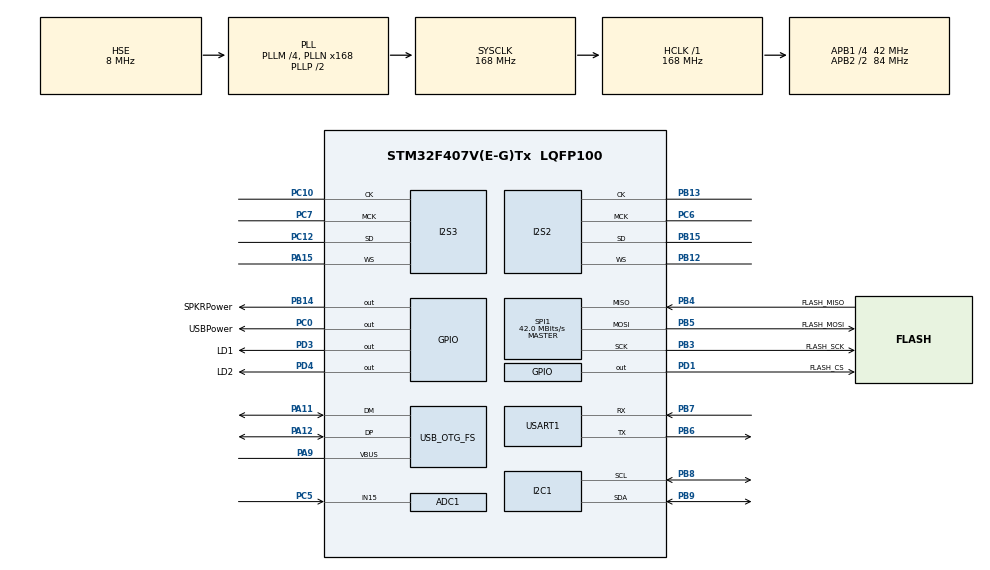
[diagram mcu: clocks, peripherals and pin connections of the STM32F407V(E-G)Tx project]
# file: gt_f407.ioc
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ADC1.Channel-1\#ChannelRegularConversion=ADC_CHANNEL_15
ADC1.ClockPrescaler=ADC_CLOCK_SYNC_PCLK_DIV8
ADC1.ContinuousConvMode=DISABLE
ADC1.DMAContinuousRequests=DISABLE
ADC1.NbrOfConversion=1
ADC1.NbrOfConversionFlag=1
ADC1.Rank-1\#ChannelRegularConversion=1
ADC1.SamplingTime-1\#ChannelRegularConversion=ADC_SAMPLETIME_480CYCLES
ADC1.ScanConvMode=ENABLE
ADC1.master=1
Dma.Request0=USART1_RX
Dma.Request1=SPI3_TX
Dma.Request2=SPI2_RX
Dma.SPI2_RX.2.Direction=DMA_PERIPH_TO_MEMORY
Dma.SPI2_RX.2.FIFOMode=DMA_FIFOMODE_ENABLE
Dma.SPI2_RX.2.FIFOThreshold=DMA_FIFO_THRESHOLD_1QUARTERFULL
Dma.SPI2_RX.2.Instance=DMA1_Stream3
Dma.SPI2_RX.2.MemBurst=DMA_MBURST_SINGLE
Dma.SPI2_RX.2.MemDataAlignment=DMA_MDATAALIGN_HALFWORD
Dma.SPI2_RX.2.MemInc=DMA_MINC_ENABLE
Dma.SPI2_RX.2.Mode=DMA_CIRCULAR
Dma.SPI2_RX.2.PeriphBurst=DMA_PBURST_SINGLE
Dma.SPI2_RX.2.PeriphDataAlignment=DMA_PDATAALIGN_HALFWORD
Dma.SPI2_RX.2.PeriphInc=DMA_PINC_DISABLE
Dma.SPI2_RX.2.Priority=DMA_PRIORITY_LOW
Dma.SPI3_TX.1.Direction=DMA_MEMORY_TO_PERIPH
Dma.SPI3_TX.1.FIFOMode=DMA_FIFOMODE_DISABLE
Dma.SPI3_TX.1.Instance=DMA1_Stream5
Dma.SPI3_TX.1.MemDataAlignment=DMA_MDATAALIGN_HALFWORD
Dma.SPI3_TX.1.MemInc=DMA_MINC_ENABLE
Dma.SPI3_TX.1.Mode=DMA_CIRCULAR
Dma.SPI3_TX.1.PeriphDataAlignment=DMA_PDATAALIGN_HALFWORD
Dma.SPI3_TX.1.PeriphInc=DMA_PINC_DISABLE
Dma.SPI3_TX.1.Priority=DMA_PRIORITY_LOW
Dma.USART1_RX.0.Direction=DMA_PERIPH_TO_MEMORY
Dma.USART1_RX.0.FIFOMode=DMA_FIFOMODE_DISABLE
Dma.USART1_RX.0.Instance=DMA2_Stream2
Dma.USART1_RX.0.MemDataAlignment=DMA_MDATAALIGN_BYTE
Dma.USART1_RX.0.MemInc=DMA_MINC_ENABLE
Dma.USART1_RX.0.Mode=DMA_CIRCULAR
Dma.USART1_RX.0.PeriphDataAlignment=DMA_PDATAALIGN_BYTE
Dma.USART1_RX.0.PeriphInc=DMA_PINC_DISABLE
Dma.USART1_RX.0.Priority=DMA_PRIORITY_LOW
FATFS._USE_LFN=1
I2S2.AudioFreq=I2S_AUDIOFREQ_48K
I2S2.DataFormat=I2S_DATAFORMAT_24B
I2S2.ErrorAudioFreq=-0.31 %
I2S2.FullDuplexMode=I2S_FULLDUPLEXMODE_DISABLE
I2S2.Instance=SPI$Index
I2S2.Mode=I2S_MODE_MASTER_RX
I2S2.RealAudioFreq=47.851 KHz
I2S2.VirtualMode=I2S_MODE_MASTER
I2S3.AudioFreq=I2S_AUDIOFREQ_48K
I2S3.ErrorAudioFreq=-0.31 %
I2S3.FullDuplexMode=I2S_FULLDUPLEXMODE_DISABLE
I2S3.Instance=SPI$Index
I2S3.RealAudioFreq=47.851 KHz
I2S3.Standard=I2S_STANDARD_PHILIPS
I2S3.VirtualMode=I2S_MODE_MASTER
Mcu.Family=STM32F4
Mcu.Name=STM32F407V(E-G)Tx
Mcu.Package=LQFP100
NVIC.DMA1_Stream3_IRQn=true\:2\:0\:true\:false\:true\:false\:true\:true
NVIC.DMA1_Stream5_IRQn=true\:2\:0\:true\:false\:true\:false\:true\:true
NVIC.DMA2_Stream2_IRQn=true\:2\:0\:true\:false\:true\:false\:true\:true
NVIC.OTG_FS_IRQn=true\:0\:0\:false\:false\:true\:false\:true\:true
NVIC.PriorityGroup=NVIC_PRIORITYGROUP_4
NVIC.TIM2_IRQn=true\:0\:0\:false\:false\:true\:true\:true\:true
PA11.Mode=Host_Only
PA11.Signal=USB_OTG_FS_DM
PA12.Mode=Host_Only
PA12.Signal=USB_OTG_FS_DP
PA13.Mode=Serial_Wire
PA13.Signal=SYS_JTMS-SWDIO
PA14.Mode=Serial_Wire
PA14.Signal=SYS_JTCK-SWCLK
PA15.Mode=Half_Duplex_Master
PA15.Signal=I2S3_WS
PA9.Mode=Activate_VBUS
PA9.Signal=USB_OTG_FS_VBUS
PB12.Mode=Half_Duplex_Master
PB12.Signal=I2S2_WS
PB13.Mode=Half_Duplex_Master
PB13.Signal=I2S2_CK
PB14.GPIO_Label=SPKRPower
PB14.Signal=GPIO_Output
PB15.Mode=Half_Duplex_Master
PB15.Signal=I2S2_SD
PB3.GPIO_Label=FLASH_SCK
PB3.Mode=Full_Duplex_Master
PB3.Signal=SPI1_SCK
PB4.GPIO_Label=FLASH_MISO
PB4.Mode=Full_Duplex_Master
PB4.Signal=SPI1_MISO
PB5.GPIO_Label=FLASH_MOSI
PB5.Mode=Full_Duplex_Master
PB5.Signal=SPI1_MOSI
PB6.Mode=Asynchronous
PB6.Signal=USART1_TX
PB7.Mode=Asynchronous
PB7.Signal=USART1_RX
PB8.Mode=I2C
PB8.Signal=I2C1_SCL
PB9.Mode=I2C
PB9.Signal=I2C1_SDA
PC0.GPIO_Label=USBPower
PC0.Signal=GPIO_Output
PC10.Mode=Half_Duplex_Master
PC10.Signal=I2S3_CK
PC12.Mode=Half_Duplex_Master
PC12.Signal=I2S3_SD
PC5.Signal=ADCx_IN15
PC6.Mode=Master_Clock_Activated
PC6.Signal=I2S2_MCK
PC7.Mode=Master_Clock_Activated
PC7.Signal=I2S3_MCK
PD1.GPIO_Label=FLASH_CS
PD1.Signal=GPIO_Output
PD3.GPIO_Label=LD1
PD3.Signal=GPIO_Output
PD4.GPIO_Label=LD2
PD4.Signal=GPIO_Output
PH0-OSC_IN.Mode=HSE-External-Oscillator
PH0-OSC_IN.Signal=RCC_OSC_IN
PH1-OSC_OUT.Mode=HSE-External-Oscillator
PH1-OSC_OUT.Signal=RCC_OSC_OUT
ProjectManager.HeapSize=0x200
ProjectManager.StackSize=0x400
ProjectManager.TargetToolchain=STM32CubeIDE
RCC.48MHZClocksFreq_Value=48000000
RCC.AHBFreq_Value=168000000
RCC.APB1CLKDivider=RCC_HCLK_DIV4
RCC.APB1Freq_Value=42000000
RCC.APB1TimFreq_Value=84000000
RCC.APB2CLKDivider=RCC_HCLK_DIV2
RCC.APB2Freq_Value=84000000
RCC.APB2TimFreq_Value=168000000
RCC.CortexFreq_Value=168000000
RCC.HCLKFreq_Value=168000000
RCC.HSE_VALUE=8000000
RCC.HSI_VALUE=16000000
RCC.LSE_VALUE=32768
RCC.PLLI2SN=196
RCC.PLLI2SR=4
RCC.PLLM=4
RCC.PLLN=168
RCC.PLLQ=7
RCC.SYSCLKFreq_VALUE=168000000
RCC.SYSCLKSource=RCC_SYSCLKSOURCE_PLLCLK
RCC.VCOOutputFreq_Value=336000000
SH.ADCx_IN15.0=ADC1_IN15,IN15
SPI1.CalculateBaudRate=42.0 MBits/s
SPI1.Direction=SPI_DIRECTION_2LINES
SPI1.Mode=SPI_MODE_MASTER
SPI1.VirtualType=VM_MASTER
TIM2.Period=100000
TIM2.Prescaler=168-1
TIM6.Period=65536-1
TIM6.Prescaler=168-1
TIM7.Prescaler=168-1
USART1.Parity=PARITY_NONE
USART1.VirtualMode=VM_ASYNC
USART1.WordLength=WORDLENGTH_8B
USB_HOST.BSP.number=1
USB_HOST.USBH_HandleTypeDef-MSC_FS=hUsbHostFS
USB_HOST.VirtualModeFS=Msc
USB_HOST0.BSP.STBoard=false
USB_HOST0.BSP.api=Unknown
USB_HOST0.BSP.instance=PC0
USB_HOST0.BSP.ip=GPIO
USB_HOST0.BSP.mode=Output
USB_HOST0.BSP.name=Drive_VBUS_FS
USB_HOST0.BSP.solution=PC0
USB_OTG_FS.VirtualMode=Host_Only
USB_OTG_FS.phy_itface=HCD_PHY_EMBEDDED
VP_FATFS_VS_USB.Mode=USB
VP_TIM2_VS_ClockSourceINT.Mode=Internal
VP_TIM6_VS_ClockSourceINT.Mode=Enable_Timer
VP_TIM7_VS_ClockSourceINT.Mode=Enable_Timer
VP_USB_HOST_VS_USB_HOST_MSC_FS.Mode=MSC_FS
board=custom

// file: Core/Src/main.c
/* USER CODE BEGIN Header */
/**
 ******************************************************************************
 * @file           : main.c
 * @brief          : Main program body
 ******************************************************************************
 * @attention
 *
 * Copyright (c) 2022 STMicroelectronics.
 * All rights reserved.
 *
 * This software is licensed under terms that can be found in the LICENSE file
 * in the root directory of this software component.
 * If no LICENSE file comes with this software, it is provided AS-IS.
 *
 ******************************************************************************
 */
/* USER CODE END Header */
#include "main.h"
#include "fatfs.h"
#include "usb_host.h"

/* USER CODE BEGIN Includes */
#include "commander.h"
#include "AUDIO.h"
#include "pedalboard.h"
#include "lines.h"
#include "drummachine.h"
#include "menu.h"
#include "w25qxx.h"

//tutorial for CMSIS DSP
//https://stm32f4-discovery.net/2014/10/stm32f4-fft-example/
//https://community.st.com/s/article/configuring-dsp-libraries-on-stm32cubeide

/* USER CODE END Includes */

ADC_HandleTypeDef hadc1;

I2C_HandleTypeDef hi2c1;

I2S_HandleTypeDef hi2s2;
I2S_HandleTypeDef hi2s3;
DMA_HandleTypeDef hdma_spi2_rx;
DMA_HandleTypeDef hdma_spi3_tx;

SPI_HandleTypeDef hspi1;

TIM_HandleTypeDef htim2;
TIM_HandleTypeDef htim6;
TIM_HandleTypeDef htim7;

UART_HandleTypeDef huart1;
DMA_HandleTypeDef hdma_usart1_rx;

/* USER CODE BEGIN PV */

// VOLUME KNOV
volatile float volume_knob;
volatile float knob_rot;

// TIMER MICROSECOND COUNTER
uint16_t timer_start;
uint16_t timer_stop;
uint16_t timer_elapsed;

// FLASH
#define SAVE_SLOTS 4

// COMMANDER
Commander_HandleTypeDef hcommander;

// LINES
lines_conf_t lines;
// PEDALBOARD
Pedalboard_Handler hpedalboard;
// DRUM MACHINE
drum_conf_t drummachine;

#define SAMPLES_QUANTITY 128 // two halves combined
#define HALF_QUANTITY 64 // which 32 are left and 32 are right

// PLOT
volatile uint8_t plot_xscale = 1;
volatile uint8_t plot_yscale = 1;
volatile uint16_t signal_index = 0;
volatile uint32_t signal_samples = 0;
int8_t signal_in[SIGNAL_SIZE];
int8_t signal_out[SIGNAL_SIZE];

// SPECTRUM
#define FFT_SAMPLES_COUNT 4096
#define FFT_SIZE (FFT_SAMPLES_COUNT / 2)
volatile uint32_t spectrum_index = FFT_SAMPLES_COUNT;
static float32_t spectrum_output[FFT_SIZE];
static float32_t spectrum_input[FFT_SAMPLES_COUNT];
uint32_t spectrum_reduced[PAYLOAD_BYTESIZE];
float32_t frequency;
arm_cfft_radix4_instance_f32 S;

// DAC
//extern AUDIO_DrvTypeDef cs43l22_drv;
int16_t DAC_BUFF[SAMPLES_QUANTITY + SAMPLES_QUANTITY];
// second SAMPLES_QUANTITY is just padding because DMA stuff

// INTERMEDIATE
uint16_t inter_dac_index = 0;
int16_t INTER_DAC_BUFF[HALF_QUANTITY];
// 0: 1st right
// 1: 1st left
// 2: 2nd right
// 3: 2nd left

// ADC EVG
union _ADC_BUFF {
	int8_t _ADC8[16];
	uint8_t ADC8[16];
	uint16_t ADC16[8];
	int32_t ADC32[4];
} ADC_BUFF;
int32_t BUFF_CONV[4];

// USB
extern ApplicationTypeDef Appli_state;
//File IO Variables
FIL myFile;
FRESULT res;
uint32_t byteswritten, bytesread;
char rwtext[100];
uint8_t usb_mounted;
uint8_t usb_ready;
FATFS myUsbFatFS;

// TEST PER AUDIO STREAM
uint8_t dummy_1[4096];
uint8_t dummy_2[4096];
uint32_t start, stop, elapsed;

/* USER CODE END PV */

void SystemClock_Config(void);
void PeriphCommonClock_Config(void);
static void MX_GPIO_Init(void);
static void MX_DMA_Init(void);
static void MX_USART1_UART_Init(void);
static void MX_I2S3_Init(void);
static void MX_I2C1_Init(void);
static void MX_I2S2_Init(void);
static void MX_TIM6_Init(void);
static void MX_SPI1_Init(void);
static void MX_ADC1_Init(void);
static void MX_TIM2_Init(void);
static void MX_TIM7_Init(void);
void MX_USB_HOST_Process(void);

/* USER CODE BEGIN 0 */

uint8_t copy_usb_to_flash3(void)
{
	//Open file for Reading
	if(f_open(&myFile, "SAMPLES.BIN", FA_READ) != FR_OK)
	{
		return 0; //error
	}
	else
	{
		//Read text from files until NULL
		for(uint8_t i=0; i<100; i++)
		{
			res = f_read(&myFile, (uint8_t*)&rwtext[i], 1, &bytesread);
			if(rwtext[i] == 0x00)
			{
				bytesread = i;
				break;
			}
		}
		//Reading error handling
		if(bytesread==0) return 0;
	}

	//Close file
	f_close(&myFile);
	return 1; //success
}

void HAL_TIM_PeriodElapsedCallback(TIM_HandleTypeDef *htim)
{
	if (htim == &htim2) {

		static uint32_t samples[5];

		for (uint8_t i = 0; i < 5; i++) {
			HAL_ADC_Start(&hadc1);
			if (HAL_ADC_PollForConversion(&hadc1, 10) == HAL_OK) {
				samples[i] = HAL_ADC_GetValue(&hadc1);
			}
			HAL_ADC_Stop(&hadc1);
		}

		for (uint8_t i = 1; i < 5; i++) {
			uint8_t j = i;
			while (j > 0 && samples[j-1] > samples[j]) {
				uint32_t support = samples[j];
				samples[j] = samples[j-1];
				samples[j-1] = support;
				j -= 1;
			}
		}

		volume_knob = (float)samples[2];

		//float x = - (volume_knob - 4095.3F) / 66.3F;
		knob_rot = log10f(- (volume_knob - 4095.3F) / 66.3F);

		// -135 -> 4095 = B + A 10^(-135)
		// 0    -> 4029 = B + A 10^(0)
		// +135 -> 2979 = B + A 10^(+135)

	}
}

void HAL_UART_RxHalfCpltCallback(UART_HandleTypeDef *huart)
{
	UNUSED(huart);
	memcpy(&(hcommander.in_command), hcommander.uart_rx_buffer, COMMAND_BYTESIZE);
	hcommander.command_to_process = 1;
}

void HAL_UART_RxCpltCallback(UART_HandleTypeDef *huart)
{
	UNUSED(huart);
	memcpy(&(hcommander.in_command), hcommander.uart_rx_buffer + COMMAND_BYTESIZE, COMMAND_BYTESIZE);
	hcommander.command_to_process = 1;
}

void flash_save(uint32_t slot_index, Pedalboard_Handler *hpb) {
	// one sector per save
	if (slot_index < SAVE_SLOTS) {
		W25qxx_WriteSector((uint8_t *)hpb, slot_index, 0, PEDALBOARD_HANDLER_SIZE);
	}
}

uint8_t flash_isempty(uint32_t slot_index) {
	if (slot_index < SAVE_SLOTS) {
		return W25qxx_IsEmptySector(slot_index, 0, PEDALBOARD_HANDLER_SIZE);
	}
	return 0;
}

void flash_load(uint32_t slot_index, Pedalboard_Handler *hpb) {
	// one sector per save
	if (slot_index < SAVE_SLOTS && !flash_isempty(slot_index)) {
		hpedalboard.active = 0;
		W25qxx_ReadSector((uint8_t *)hpb, slot_index, 0, PEDALBOARD_HANDLER_SIZE);
		hpedalboard.active = 1;
	}
}

void flash_delete(uint32_t slot_index) {
	if (slot_index < SAVE_SLOTS) {
		W25qxx_EraseSector(slot_index);
	}
}

void command_callback() {

	Command *in_command = &(hcommander.in_command);
	Command *out_command = &(hcommander.out_command);

	HAL_GPIO_WritePin(LD1_GPIO_Port, LD1_Pin, GPIO_PIN_SET);
	HAL_GPIO_WritePin(LD2_GPIO_Port, LD2_Pin, GPIO_PIN_SET);

	out_command->header = in_command->header;
	out_command->param = in_command->param;

	if (in_command->header == GET_PB) {

		// assumes PEDALBOARD_HANDLER_SIZE <= PAYLOAD_BYTESIZE
		memcpy(out_command->payload.bytes, (uint8_t *)&hpedalboard, PEDALBOARD_HANDLER_SIZE);
		Commander_Send(&hcommander);

	} else if (in_command->header == SET_PB) {

		// assumes PEDALBOARD_HANDLER_SIZE <= PAYLOAD_BYTESIZE
		memcpy((uint8_t *)&hpedalboard, in_command->payload.bytes, PEDALBOARD_HANDLER_SIZE);
		Commander_Send(&hcommander);

	} else if (in_command->header == GET_SIGNALS) {

		plot_xscale = in_command->payload.bytes[0] ? in_command->payload.bytes[0] : 1;
		plot_yscale = in_command->payload.bytes[1];
		signal_index = 0;
		while (signal_index < SIGNAL_SIZE);
		memcpy(out_command->payload.bytes, signal_in, SIGNAL_SIZE);
		memcpy(out_command->payload.bytes + SIGNAL_SIZE, signal_out, SIGNAL_SIZE);
		Commander_Send(&hcommander);

	} else if (in_command->header == GET_SPECTRUM) {

		//signal_index = 0;
		//while (signal_index < SIGNAL_SIZE);
		//memcpy(out_command->payload.bytes, signal_in, SIGNAL_SIZE);
		//memcpy(out_command->payload.bytes + SIGNAL_SIZE, signal_out, SIGNAL_SIZE);
		//Commander_Send(&hcommander);

		spectrum_index = 0;
		while (spectrum_index < FFT_SAMPLES_COUNT);
		float32_t maxValue;
		uint32_t maxIndex;
		arm_cfft_radix4_init_f32(&S, FFT_SIZE, 0, 1); //ifftFlag, doBitReverse
		arm_cfft_radix4_f32(&S, spectrum_input);
		arm_cmplx_mag_f32(spectrum_input, spectrum_output, FFT_SIZE);
		arm_max_f32(spectrum_output, FFT_SIZE, &maxValue, &maxIndex);
		//frequency = ((48000/FFT_SIZE) * (maxIndex));

		uint32_t max_value = 0;
		uint16_t window_size = FFT_SIZE / PAYLOAD_BYTESIZE;
		for (uint16_t i = 0; i < PAYLOAD_BYTESIZE; i++) {
			uint32_t value = 0;
			for (uint16_t j = 0; j < window_size; j++) value += spectrum_output[i * window_size + j];
			value /= window_size;
			if (value > max_value) max_value = value;
			spectrum_reduced[i] = value;
		}

		uint32_t scale = (uint32_t)max_value / 256;
		for (uint16_t i = 0; i < PAYLOAD_BYTESIZE; i++) {
			uint32_t value = spectrum_reduced[i];
			value /= scale;
			out_command->payload.bytes[i] = value;
		}

		Commander_Send(&hcommander);

	} else if (in_command->header == GET_LOAD) {

		memcpy(out_command->payload.bytes, (uint8_t *)&timer_elapsed, 2);
		Commander_Send(&hcommander);

	} else if (in_command->header == GET_FLASH) {

		out_command->subheader = SAVE_SLOTS;
		// assuming real payload is always smaller than max capacity
		// assert ( SAVE_SLOTS * (MAX_EFFECTS_COUNT+1) < PAYLOAD_BYTESIZE )
		// first byte per slot in payload mean if it is full or empty
		for (uint8_t i = 0; i < SAVE_SLOTS; i++) {
			Pedalboard_Handler temp;
			if (flash_isempty(i)) {
				out_command->payload.bytes[i*(EFFECT_SLOTS_COUNT+1)+0] = 0;
			} else {
				out_command->payload.bytes[i*(EFFECT_SLOTS_COUNT+1)+0] = 1;
				flash_load(i, &temp);
				for (uint8_t j = 0; j < EFFECT_SLOTS_COUNT; j++) {
					out_command->payload.bytes[i*(EFFECT_SLOTS_COUNT+1)+j+1] = temp.effects[j].type;
				}
			}
		}
		Commander_Send(&hcommander);

	} else if (in_command->header == SAVE_FLASH) {

		flash_save(in_command->subheader, &hpedalboard);
		Commander_Send(&hcommander);

	} else if (in_command->header == LOAD_FLASH) {

		flash_load(in_command->subheader, &hpedalboard);
		Commander_Send(&hcommander);

	} else if (in_command->header == DEL_FLASH) {

		flash_delete(in_command->subheader);
		Commander_Send(&hcommander);

	} else if (in_command->header == GET_DRUMS) {

		memcpy(out_command->payload.bytes, (uint8_t *)&drummachine, DRUMS_CONF_SIZE);
		Commander_Send(&hcommander);

	} else if (in_command->header == SET_DRUMS) {

		memcpy((uint8_t *)&drummachine, in_command->payload.bytes, DRUMS_CONF_SIZE);
		Commander_Send(&hcommander);

	} else if (in_command->header == GET_LINES) {

		memcpy(out_command->payload.bytes, (uint8_t *)&lines, LINES_CONF_SIZE);
		Commander_Send(&hcommander);

	} else if (in_command->header == SET_LINES) {

		memcpy((uint8_t *)&lines, in_command->payload.bytes, LINES_CONF_SIZE);
		Commander_Send(&hcommander);

	}

	// surely faulty command
	//Commander_Pause(&hcommander);
	//HAL_Delay(5000);
	//Commander_Resume(&hcommander);

	HAL_GPIO_WritePin(LD1_GPIO_Port, LD1_Pin, GPIO_PIN_RESET);
	HAL_GPIO_WritePin(LD2_GPIO_Port, LD2_Pin, GPIO_PIN_RESET);
}

// 0 medium significant byte
// 1 most significant byte
// 2 empty byte
// 3 least significant byte

void DSP(uint8_t * buf, int16_t * out) {

	// RAW (int16) and OUT (int16*) are input and output

	// conversion of terrible adc i2s frame
	uint32_t _rearranged = 0x00000000 + (buf[1]<<24) + (buf[0]<<16) + (buf[3]<<8);

	int32_t rearranged = _rearranged;

	int32_t raw = rearranged >> 8;

	float mid = (float)raw;

	// processing intermediate value
	Pedalboard_Process(&hpedalboard, &mid);
	Drum_Playback(&mid, &drummachine);

	// casting float to 16bits
	*out = (int16_t)(mid / 256);

	// saving for debugging thingies
	if (signal_index < SIGNAL_SIZE && signal_samples % plot_xscale == 0) {
		signal_in[signal_index] = (raw * plot_yscale) >> 16;
		signal_out[signal_index] = (*out * plot_yscale) >> 8;
		signal_index++;
	}
	signal_samples++;

	if (spectrum_index < FFT_SAMPLES_COUNT) {
		//float val = 0;
		//wave_gen(&val, 's', spectrum_index / 2, 440.0);
		spectrum_input[spectrum_index] = (float)raw / 256;
		//spectrum_input[spectrum_index] = val;
		spectrum_input[spectrum_index+1] = 0;
		spectrum_index += 2;
	}
}

// TS: Tip Sleeve
// TRS: Tip Ring Sleeve
// TIP is RIGHT
// RING is LEFT

void Mode_N_DSP(uint8_t * buf_tip, uint8_t * buf_ring, int16_t * out_tip, int16_t * out_ring) {

	if (lines.input_line == TS && lines.output_line == TS) {
		DSP(buf_tip, out_tip);
		*out_ring = 0;

	} else if (lines.input_line == TS && lines.output_line == RS) {
		DSP(buf_tip, out_ring);
		*out_tip = 0;

	} else if (lines.input_line == RS && lines.output_line == TS) {
		DSP(buf_ring, out_tip);
		*out_ring = 0;

	} else if (lines.input_line == RS && lines.output_line == RS) {
		DSP(buf_ring, out_ring);
		*out_tip = 0;

	} else if (lines.input_line == TS && lines.output_line == TRS_B) {
		DSP(buf_tip, out_tip);
		*out_ring = - *out_tip;

	} else if (lines.input_line == TS && lines.output_line == TRS_U) {
		DSP(buf_tip, out_tip);
		*out_ring = *out_tip;

	} else if (lines.input_line == RS && lines.output_line == TRS_B) {
		DSP(buf_ring, out_tip);
		*out_ring = *out_tip;

	} else if (lines.input_line == RS && lines.output_line == TRS_U) {
		DSP(buf_ring, out_tip);
		*out_ring = *out_tip;
	}
}

void HAL_I2S_RxHalfCpltCallback(I2S_HandleTypeDef *hi2s) {
	if (hi2s->Instance == SPI2) {
		if (inter_dac_index < HALF_QUANTITY) {
			timer_start = __HAL_TIM_GET_COUNTER(&htim6);
			Mode_N_DSP(&ADC_BUFF.ADC8[4], &ADC_BUFF.ADC8[0], &INTER_DAC_BUFF[inter_dac_index + 1], &INTER_DAC_BUFF[inter_dac_index]);
			timer_stop = __HAL_TIM_GET_COUNTER(&htim6);
			timer_elapsed = timer_stop - timer_start;
			//DSP(&ADC_BUFF.ADC8[0], &DSP_BUFF[inter_dac_index]); // ring (left)
			//DSP(&ADC_BUFF.ADC8[4], &DSP_BUFF[inter_dac_index + 1]); // tip (right)
			//INTER_DAC_BUFF[inter_dac_index] = -DSP_BUFF[inter_dac_index + 1];
			inter_dac_index += 2;
		}
	}
}

void HAL_I2S_RxCpltCallback(I2S_HandleTypeDef *hi2s) {
	if (hi2s->Instance == SPI2) {
		if (inter_dac_index < HALF_QUANTITY) {
			Mode_N_DSP(&ADC_BUFF.ADC8[12], &ADC_BUFF.ADC8[8], &INTER_DAC_BUFF[inter_dac_index + 1], &INTER_DAC_BUFF[inter_dac_index]);
			//DSP(&ADC_BUFF.ADC8[8], &DSP_BUFF[inter_dac_index]); // ring (left)
			//DSP(&ADC_BUFF.ADC8[12], &DSP_BUFF[inter_dac_index + 1]); // tip (right)
			//DSP_BUFF[inter_dac_index] = -DSP_BUFF[inter_dac_index + 1];
			inter_dac_index += 2;
		}

	}
}

void AUDIO_OUT_HalfTransfer_CallBack() {
	for (uint16_t i = 0; i < HALF_QUANTITY; i++) {
		DAC_BUFF[i] = INTER_DAC_BUFF[i];
	}
	inter_dac_index = 0;
}

void AUDIO_OUT_TransferComplete_CallBack() {
	for (uint16_t i = 0; i < HALF_QUANTITY; i++) {
		DAC_BUFF[HALF_QUANTITY + i] = INTER_DAC_BUFF[i];
	}
	inter_dac_index = 0;
}

/* USER CODE END 0 */

int main(void)
{

  /* MCU Configuration--------------------------------------------------------*/

  /* Reset of all peripherals, Initializes the Flash interface and the Systick. */
  HAL_Init();

  /* Configure the system clock */
  SystemClock_Config();

/* Configure the peripherals common clocks */
  PeriphCommonClock_Config();

  /* Initialize all configured peripherals */
  MX_GPIO_Init();
  MX_DMA_Init();
  MX_USART1_UART_Init();
  MX_I2S3_Init();
  MX_I2C1_Init();
  MX_I2S2_Init();
  MX_TIM6_Init();
  MX_SPI1_Init();
  MX_ADC1_Init();
  MX_TIM2_Init();
  MX_TIM7_Init();
  MX_FATFS_Init();
  MX_USB_HOST_Init();
  /* USER CODE BEGIN 2 */

	// LINES
	Lines_Init(&lines);

	// PEDALBOARD
	Pedalboard_Init(&hpedalboard);

	// DRUM MACHINE
	Drum_Init(&drummachine);

	// COMMANDER
	Commander_Init(&hcommander, &huart1, &hdma_usart1_rx, command_callback);
	Commander_Start(&hcommander);

	// DAC
	HAL_GPIO_WritePin(SPKRPower_GPIO_Port, SPKRPower_Pin, RESET);
	cs43l22_Init(AUDIO_I2C_ADDRESS, OUTPUT_DEVICE_HEADPHONE, 200, AUDIO_FREQUENCY_48K);
	cs43l22_Play(AUDIO_I2C_ADDRESS, (uint16_t *)DAC_BUFF, SAMPLES_QUANTITY);
	HAL_I2S_Transmit_DMA(&hi2s3, (uint16_t *)DAC_BUFF, SAMPLES_QUANTITY);
	cs43l22_SetVolume(AUDIO_I2C_ADDRESS, 220);

	// VOLUME KNOB
	//HAL_TIM_Base_Start_IT(&htim2);

	// ADC
	HAL_I2S_Receive_DMA(&hi2s2, ADC_BUFF.ADC16, 4);

	// tests on FLASH
	//	----	Size	Count
	//	Block	65536	1024
	//	Sector	4096	16384
	//	Page	256		262144
	W25qxx_Init();

	// TIMER
	HAL_TIM_Base_Start(&htim6);
	HAL_TIM_Base_Start(&htim7);

  /* USER CODE END 2 */

  /* Infinite loop */
	while (1)
	{
    MX_USB_HOST_Process();

    /* USER CODE BEGIN 3 */

		Commander_ProcessIncoming(&hcommander);

		for (uint8_t i = 0; i < 10; i++) {
			uint32_t offset = 26;

			if (W25qxx_IsEmptySector(offset + i, 0, PEDALBOARD_HANDLER_SIZE)) {
				W25qxx_WriteSector((uint8_t *)dummy_1, offset + i, 0, 4096);
			}

			start = __HAL_TIM_GET_COUNTER(&htim7);
			W25qxx_ReadSector((uint8_t *)dummy_2, offset + i, 0, 4096);
			stop = __HAL_TIM_GET_COUNTER(&htim7);
			elapsed = stop - start;

			if (!W25qxx_IsEmptySector(offset + i, 0, PEDALBOARD_HANDLER_SIZE)) {
				W25qxx_EraseSector(offset + i);
			}

		}

		if (Appli_state == APPLICATION_START) {

			if(f_mount(&myUsbFatFS, (TCHAR const*)USBHPath, 0) == FR_OK) {
				usb_mounted = 1;
			}

		} else if (Appli_state == APPLICATION_READY) {

			usb_ready = 1;

			// do the thing

		} else if (Appli_state == APPLICATION_DISCONNECT) {

			usb_mounted = 0;
			usb_ready = 0;

		} // APPLICATION_IDLE

		/* USER CODE END WHILE */

		/*if (samplesCount == FFT_SAMPLES_COUNT) {

			uint32_t ifftFlag = 0; //forward, backward
			uint32_t doBitReverse = 1;
			arm_cfft_radix4_instance_f32 S;
			float32_t maxValue;
			uint32_t maxIndex;

			arm_cfft_radix4_init_f32(&S, FFT_SIZE, ifftFlag, doBitReverse);

			arm_cfft_radix4_f32(&S, Input);

			arm_cmplx_mag_f32(Input, Output, FFT_SIZE);

			arm_max_f32(Output, FFT_SIZE, &maxValue, &maxIndex);

			frequency = ((48000/FFT_SIZE) * (maxIndex));;

			samplesCount = 0;
		}*/

	}
  /* USER CODE END 3 */
}

void SystemClock_Config(void)
{
  RCC_OscInitTypeDef RCC_OscInitStruct = {0};
  RCC_ClkInitTypeDef RCC_ClkInitStruct = {0};

  /** Configure the main internal regulator output voltage
  */
  __HAL_RCC_PWR_CLK_ENABLE();
  __HAL_PWR_VOLTAGESCALING_CONFIG(PWR_REGULATOR_VOLTAGE_SCALE1);

  /** Initializes the RCC Oscillators according to the specified parameters
  * in the RCC_OscInitTypeDef structure.
  */
  RCC_OscInitStruct.OscillatorType = RCC_OSCILLATORTYPE_HSE;
  RCC_OscInitStruct.HSEState = RCC_HSE_ON;
  RCC_OscInitStruct.PLL.PLLState = RCC_PLL_ON;
  RCC_OscInitStruct.PLL.PLLSource = RCC_PLLSOURCE_HSE;
  RCC_OscInitStruct.PLL.PLLM = 4;
  RCC_OscInitStruct.PLL.PLLN = 168;
  RCC_OscInitStruct.PLL.PLLP = RCC_PLLP_DIV2;
  RCC_OscInitStruct.PLL.PLLQ = 7;
  if (HAL_RCC_OscConfig(&RCC_OscInitStruct) != HAL_OK)
  {
    Error_Handler();
  }

  /** Initializes the CPU, AHB and APB buses clocks
  */
  RCC_ClkInitStruct.ClockType = RCC_CLOCKTYPE_HCLK|RCC_CLOCKTYPE_SYSCLK
                              |RCC_CLOCKTYPE_PCLK1|RCC_CLOCKTYPE_PCLK2;
  RCC_ClkInitStruct.SYSCLKSource = RCC_SYSCLKSOURCE_PLLCLK;
  RCC_ClkInitStruct.AHBCLKDivider = RCC_SYSCLK_DIV1;
  RCC_ClkInitStruct.APB1CLKDivider = RCC_HCLK_DIV4;
  RCC_ClkInitStruct.APB2CLKDivider = RCC_HCLK_DIV2;

  if (HAL_RCC_ClockConfig(&RCC_ClkInitStruct, FLASH_LATENCY_5) != HAL_OK)
  {
    Error_Handler();
  }
}

void PeriphCommonClock_Config(void)
{
  RCC_PeriphCLKInitTypeDef PeriphClkInitStruct = {0};

  /** Initializes the peripherals clock
  */
  PeriphClkInitStruct.PeriphClockSelection = RCC_PERIPHCLK_I2S;
  PeriphClkInitStruct.PLLI2S.PLLI2SN = 196;
  PeriphClkInitStruct.PLLI2S.PLLI2SR = 4;
  if (HAL_RCCEx_PeriphCLKConfig(&PeriphClkInitStruct) != HAL_OK)
  {
    Error_Handler();
  }
}

static void MX_ADC1_Init(void)
{

  ADC_ChannelConfTypeDef sConfig = {0};

  /** Configure the global features of the ADC (Clock, Resolution, Data Alignment and number of conversion)
  */
  hadc1.Instance = ADC1;
  hadc1.Init.ClockPrescaler = ADC_CLOCK_SYNC_PCLK_DIV8;
  hadc1.Init.Resolution = ADC_RESOLUTION_12B;
  hadc1.Init.ScanConvMode = ENABLE;
  hadc1.Init.ContinuousConvMode = DISABLE;
  hadc1.Init.DiscontinuousConvMode = DISABLE;
  hadc1.Init.ExternalTrigConvEdge = ADC_EXTERNALTRIGCONVEDGE_NONE;
  hadc1.Init.ExternalTrigConv = ADC_SOFTWARE_START;
  hadc1.Init.DataAlign = ADC_DATAALIGN_RIGHT;
  hadc1.Init.NbrOfConversion = 1;
  hadc1.Init.DMAContinuousRequests = DISABLE;
  hadc1.Init.EOCSelection = ADC_EOC_SINGLE_CONV;
  if (HAL_ADC_Init(&hadc1) != HAL_OK)
  {
    Error_Handler();
  }

  /** Configure for the selected ADC regular channel its corresponding rank in the sequencer and its sample time.
  */
  sConfig.Channel = ADC_CHANNEL_15;
  sConfig.Rank = 1;
  sConfig.SamplingTime = ADC_SAMPLETIME_480CYCLES;
  if (HAL_ADC_ConfigChannel(&hadc1, &sConfig) != HAL_OK)
  {
    Error_Handler();
  }

}

static void MX_I2C1_Init(void)
{

  hi2c1.Instance = I2C1;
  hi2c1.Init.ClockSpeed = 100000;
  hi2c1.Init.DutyCycle = I2C_DUTYCYCLE_2;
  hi2c1.Init.OwnAddress1 = 0;
  hi2c1.Init.AddressingMode = I2C_ADDRESSINGMODE_7BIT;
  hi2c1.Init.DualAddressMode = I2C_DUALADDRESS_DISABLE;
  hi2c1.Init.OwnAddress2 = 0;
  hi2c1.Init.GeneralCallMode = I2C_GENERALCALL_DISABLE;
  hi2c1.Init.NoStretchMode = I2C_NOSTRETCH_DISABLE;
  if (HAL_I2C_Init(&hi2c1) != HAL_OK)
  {
    Error_Handler();
  }

}

static void MX_I2S2_Init(void)
{

  hi2s2.Instance = SPI2;
  hi2s2.Init.Mode = I2S_MODE_MASTER_RX;
  hi2s2.Init.Standard = I2S_STANDARD_PHILIPS;
  hi2s2.Init.DataFormat = I2S_DATAFORMAT_24B;
  hi2s2.Init.MCLKOutput = I2S_MCLKOUTPUT_ENABLE;
  hi2s2.Init.AudioFreq = I2S_AUDIOFREQ_48K;
  hi2s2.Init.CPOL = I2S_CPOL_LOW;
  hi2s2.Init.ClockSource = I2S_CLOCK_PLL;
  hi2s2.Init.FullDuplexMode = I2S_FULLDUPLEXMODE_DISABLE;
  if (HAL_I2S_Init(&hi2s2) != HAL_OK)
  {
    Error_Handler();
  }

}

static void MX_I2S3_Init(void)
{

  hi2s3.Instance = SPI3;
  hi2s3.Init.Mode = I2S_MODE_MASTER_TX;
  hi2s3.Init.Standard = I2S_STANDARD_PHILIPS;
  hi2s3.Init.DataFormat = I2S_DATAFORMAT_16B;
  hi2s3.Init.MCLKOutput = I2S_MCLKOUTPUT_ENABLE;
  hi2s3.Init.AudioFreq = I2S_AUDIOFREQ_48K;
  hi2s3.Init.CPOL = I2S_CPOL_LOW;
  hi2s3.Init.ClockSource = I2S_CLOCK_PLL;
  hi2s3.Init.FullDuplexMode = I2S_FULLDUPLEXMODE_DISABLE;
  if (HAL_I2S_Init(&hi2s3) != HAL_OK)
  {
    Error_Handler();
  }

}

static void MX_SPI1_Init(void)
{

  /* SPI1 parameter configuration*/
  hspi1.Instance = SPI1;
  hspi1.Init.Mode = SPI_MODE_MASTER;
  hspi1.Init.Direction = SPI_DIRECTION_2LINES;
  hspi1.Init.DataSize = SPI_DATASIZE_8BIT;
  hspi1.Init.CLKPolarity = SPI_POLARITY_LOW;
  hspi1.Init.CLKPhase = SPI_PHASE_1EDGE;
  hspi1.Init.NSS = SPI_NSS_SOFT;
  hspi1.Init.BaudRatePrescaler = SPI_BAUDRATEPRESCALER_2;
  hspi1.Init.FirstBit = SPI_FIRSTBIT_MSB;
  hspi1.Init.TIMode = SPI_TIMODE_DISABLE;
  hspi1.Init.CRCCalculation = SPI_CRCCALCULATION_DISABLE;
  hspi1.Init.CRCPolynomial = 10;
  if (HAL_SPI_Init(&hspi1) != HAL_OK)
  {
    Error_Handler();
  }

}

static void MX_TIM2_Init(void)
{

  TIM_ClockConfigTypeDef sClockSourceConfig = {0};
  TIM_MasterConfigTypeDef sMasterConfig = {0};

  htim2.Instance = TIM2;
  htim2.Init.Prescaler = 168-1;
  htim2.Init.CounterMode = TIM_COUNTERMODE_UP;
  htim2.Init.Period = 100000;
  htim2.Init.ClockDivision = TIM_CLOCKDIVISION_DIV1;
  htim2.Init.AutoReloadPreload = TIM_AUTORELOAD_PRELOAD_DISABLE;
  if (HAL_TIM_Base_Init(&htim2) != HAL_OK)
  {
    Error_Handler();
  }
  sClockSourceConfig.ClockSource = TIM_CLOCKSOURCE_INTERNAL;
  if (HAL_TIM_ConfigClockSource(&htim2, &sClockSourceConfig) != HAL_OK)
  {
    Error_Handler();
  }
  sMasterConfig.MasterOutputTrigger = TIM_TRGO_RESET;
  sMasterConfig.MasterSlaveMode = TIM_MASTERSLAVEMODE_DISABLE;
  if (HAL_TIMEx_MasterConfigSynchronization(&htim2, &sMasterConfig) != HAL_OK)
  {
    Error_Handler();
  }

}

static void MX_TIM6_Init(void)
{

  TIM_MasterConfigTypeDef sMasterConfig = {0};

  htim6.Instance = TIM6;
  htim6.Init.Prescaler = 168-1;
  htim6.Init.CounterMode = TIM_COUNTERMODE_UP;
  htim6.Init.Period = 65536-1;
  htim6.Init.AutoReloadPreload = TIM_AUTORELOAD_PRELOAD_DISABLE;
  if (HAL_TIM_Base_Init(&htim6) != HAL_OK)
  {
    Error_Handler();
  }
  sMasterConfig.MasterOutputTrigger = TIM_TRGO_RESET;
  sMasterConfig.MasterSlaveMode = TIM_MASTERSLAVEMODE_DISABLE;
  if (HAL_TIMEx_MasterConfigSynchronization(&htim6, &sMasterConfig) != HAL_OK)
  {
    Error_Handler();
  }

}

static void MX_TIM7_Init(void)
{

  TIM_MasterConfigTypeDef sMasterConfig = {0};

  htim7.Instance = TIM7;
  htim7.Init.Prescaler = 168-1;
  htim7.Init.CounterMode = TIM_COUNTERMODE_UP;
  htim7.Init.Period = 65535;
  htim7.Init.AutoReloadPreload = TIM_AUTORELOAD_PRELOAD_DISABLE;
  if (HAL_TIM_Base_Init(&htim7) != HAL_OK)
  {
    Error_Handler();
  }
  sMasterConfig.MasterOutputTrigger = TIM_TRGO_RESET;
  sMasterConfig.MasterSlaveMode = TIM_MASTERSLAVEMODE_DISABLE;
  if (HAL_TIMEx_MasterConfigSynchronization(&htim7, &sMasterConfig) != HAL_OK)
  {
    Error_Handler();
  }

}

static void MX_USART1_UART_Init(void)
{

  huart1.Instance = USART1;
  huart1.Init.BaudRate = 115200;
  huart1.Init.WordLength = UART_WORDLENGTH_8B;
  huart1.Init.StopBits = UART_STOPBITS_1;
  huart1.Init.Parity = UART_PARITY_NONE;
  huart1.Init.Mode = UART_MODE_TX_RX;
  huart1.Init.HwFlowCtl = UART_HWCONTROL_NONE;
  huart1.Init.OverSampling = UART_OVERSAMPLING_16;
  if (HAL_UART_Init(&huart1) != HAL_OK)
  {
    Error_Handler();
  }

}

static void MX_DMA_Init(void)
{

  /* DMA controller clock enable */
  __HAL_RCC_DMA2_CLK_ENABLE();
  __HAL_RCC_DMA1_CLK_ENABLE();

  /* DMA interrupt init */
  /* DMA1_Stream3_IRQn interrupt configuration */
  HAL_NVIC_SetPriority(DMA1_Stream3_IRQn, 2, 0);
  HAL_NVIC_EnableIRQ(DMA1_Stream3_IRQn);
  /* DMA1_Stream5_IRQn interrupt configuration */
  HAL_NVIC_SetPriority(DMA1_Stream5_IRQn, 2, 0);
  HAL_NVIC_EnableIRQ(DMA1_Stream5_IRQn);
  /* DMA2_Stream2_IRQn interrupt configuration */
  HAL_NVIC_SetPriority(DMA2_Stream2_IRQn, 2, 0);
  HAL_NVIC_EnableIRQ(DMA2_Stream2_IRQn);

}

static void MX_GPIO_Init(void)
{
  GPIO_InitTypeDef GPIO_InitStruct = {0};

  /* GPIO Ports Clock Enable */
  __HAL_RCC_GPIOH_CLK_ENABLE();
  __HAL_RCC_GPIOC_CLK_ENABLE();
  __HAL_RCC_GPIOB_CLK_ENABLE();
  __HAL_RCC_GPIOA_CLK_ENABLE();
  __HAL_RCC_GPIOD_CLK_ENABLE();

  /*Configure GPIO pin Output Level */
  HAL_GPIO_WritePin(USBPower_GPIO_Port, USBPower_Pin, GPIO_PIN_RESET);

  /*Configure GPIO pin Output Level */
  HAL_GPIO_WritePin(SPKRPower_GPIO_Port, SPKRPower_Pin, GPIO_PIN_RESET);

  /*Configure GPIO pin Output Level */
  HAL_GPIO_WritePin(GPIOD, FLASH_CS_Pin|LD1_Pin|LD2_Pin, GPIO_PIN_RESET);

  /*Configure GPIO pin : USBPower_Pin */
  GPIO_InitStruct.Pin = USBPower_Pin;
  GPIO_InitStruct.Mode = GPIO_MODE_OUTPUT_PP;
  GPIO_InitStruct.Pull = GPIO_NOPULL;
  GPIO_InitStruct.Speed = GPIO_SPEED_FREQ_LOW;
  HAL_GPIO_Init(USBPower_GPIO_Port, &GPIO_InitStruct);

  /*Configure GPIO pin : SPKRPower_Pin */
  GPIO_InitStruct.Pin = SPKRPower_Pin;
  GPIO_InitStruct.Mode = GPIO_MODE_OUTPUT_PP;
  GPIO_InitStruct.Pull = GPIO_NOPULL;
  GPIO_InitStruct.Speed = GPIO_SPEED_FREQ_LOW;
  HAL_GPIO_Init(SPKRPower_GPIO_Port, &GPIO_InitStruct);

  /*Configure GPIO pins : FLASH_CS_Pin LD1_Pin LD2_Pin */
  GPIO_InitStruct.Pin = FLASH_CS_Pin|LD1_Pin|LD2_Pin;
  GPIO_InitStruct.Mode = GPIO_MODE_OUTPUT_PP;
  GPIO_InitStruct.Pull = GPIO_NOPULL;
  GPIO_InitStruct.Speed = GPIO_SPEED_FREQ_LOW;
  HAL_GPIO_Init(GPIOD, &GPIO_InitStruct);

}

void Error_Handler(void)
{
	__disable_irq();
	while (1)
	{
	}
}
